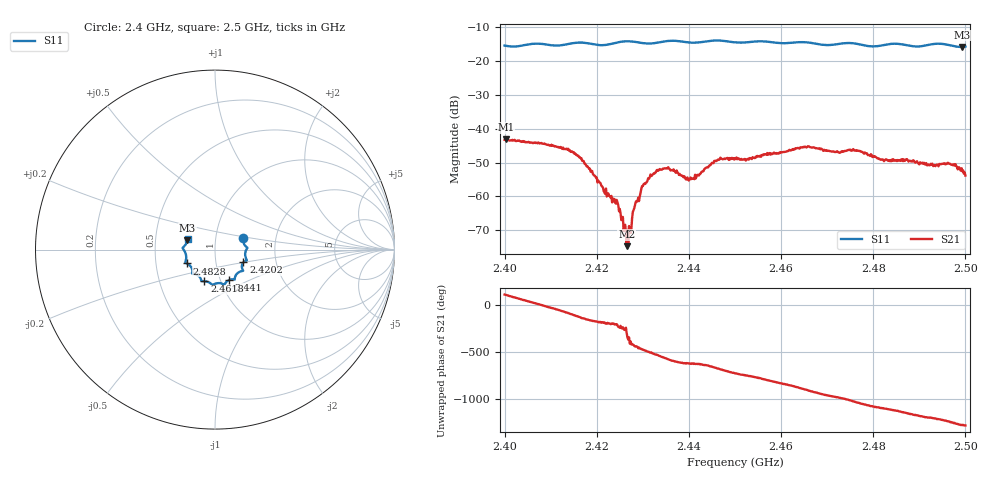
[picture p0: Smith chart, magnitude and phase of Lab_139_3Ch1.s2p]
# Hz S RI R
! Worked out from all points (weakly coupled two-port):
!   601 points, 2.4 GHz to 2.5 GHz, reference 50 ohm
!   highest |S21| = -43.18 dB at 2.4003 GHz (marker M1); lowest = -74.7 dB at 2.4265 GHz (marker M2)
!   lowest |S11| = -15.8 dB at 2.4993 GHz (marker M3), VSWR 1.39, Z = 36.5 + j3.85 ohm
!   |S11| at or under -10 dB: start of sweep to end of sweep
!   S12 and S22 are empty: the file has one direction only
!   S11 on the Smith chart (normalised r, x): 2.4 GHz: 1.36, +0.18; 2.4202 GHz: 1.36, -0.20; 2.441 GHz: 1.10, -0.39; 2.4618 GHz: 0.84, -0.30; 2.4828 GHz: 0.72, -0.11; 2.5 GHz: 0.73, +0.09
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2.4e9  0.1573 0.0628  -0.00286 0.00622  0 0  0 0
2.400333e9  0.1572 0.0592  -0.0024 0.0065  0 0  0 0
2.410667e9  0.1695 -0.0128  0.00457 -0.00322  0 0  0 0
2.416667e9  0.1778 -0.0602  -0.00265 -0.00252  0 0  0 0
2.420167e9  0.158 -0.0708  -0.0016 -8.11e-05  0 0  0 0
2.424167e9  0.1523 -0.108  -0.000709 0.000327  0 0  0 0
2.4265e9  0.1568 -0.1179  9.78e-05 0.000155  0 0  0 0
2.427e9  0.1564 -0.1185  0.000351 9.75e-05  0 0  0 0
2.428167e9  0.1517 -0.119  0.00016 -0.000659  0 0  0 0
2.43e9  0.1362 -0.1241  -0.000617 -0.00128  0 0  0 0
2.433333e9  0.1121 -0.151  -0.00238 -0.000184  0 0  0 0
2.441e9  0.0785 -0.1695  -5.73e-05 0.00185  0 0  0 0
2.446e9  0.0507 -0.1951  0.00231 0.00249  0 0  0 0
2.45e9  0.0284 -0.187  0.00363 -0.000525  0 0  0 0
2.461833e9  -0.0594 -0.1759  -0.00352 -0.00338  0 0  0 0
2.466667e9  -0.0779 -0.1681  -0.00489 0.00193  0 0  0 0
2.476167e9  -0.1266 -0.1299  0.00334 0.00337  0 0  0 0
2.482833e9  -0.1576 -0.0774  0.00313 -0.00163  0 0  0 0
2.483333e9  -0.1605 -0.0762  0.00283 -0.00188  0 0  0 0
2.496333e9  -0.1724 0.0178  -0.00296 -0.000895  0 0  0 0
2.499333e9  -0.1532 0.0513  -0.00217 0.00091  0 0  0 0
2.5e9  -0.1517 0.061  -0.00182 0.000911  0 0  0 0
